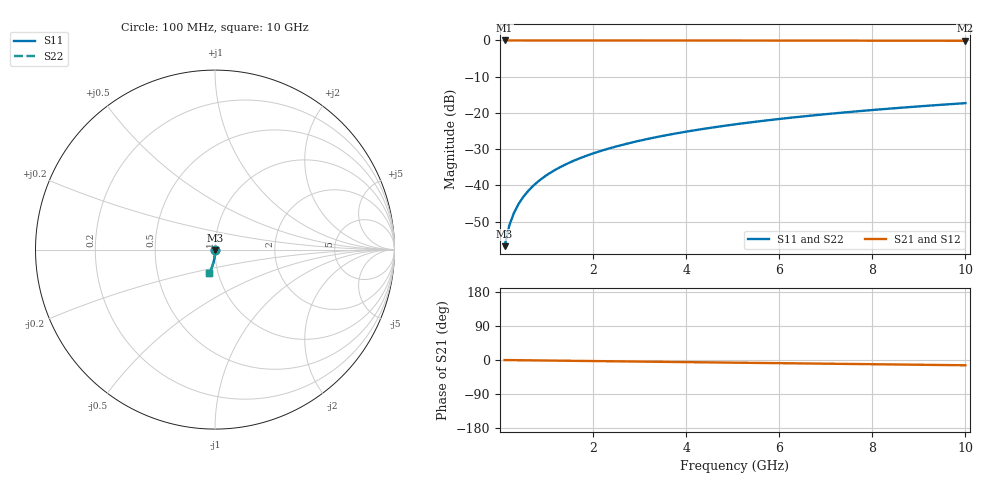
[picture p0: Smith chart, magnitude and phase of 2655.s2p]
# Hz S RI R 50.00
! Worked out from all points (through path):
!   100 points, 100 MHz to 10 GHz, reference 50 ohm
!   highest |S21| = 0.00 dB at 100 MHz (marker M1); lowest = -0.1 dB at 10 GHz (marker M2)
!   group delay of S21, straight-line fit = 3.86 ps
!   lowest |S11| = -56.8 dB at 100 MHz (marker M3), VSWR 1.00, Z = 50 - j0.138 ohm
!   |S11| at or under -10 dB: start of sweep to end of sweep
!   |S22| runs from -56.8 to -17.3 dB; largest |S21 - S12| = 0
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1e8  0.000443 -0.00138  0.9995 -0.00243  0.9995 -0.00243  0.000443 -0.00138
2e8  0.000434 -0.00276  0.9995 -0.00486  0.9995 -0.00486  0.000434 -0.00276
3e8  0.000418 -0.00414  0.9995 -0.00729  0.9995 -0.00729  0.000418 -0.00414
4e8  0.000395 -0.00552  0.9995 -0.00972  0.9995 -0.00972  0.000395 -0.00552
5e8  0.000364 -0.0069  0.9994 -0.0121  0.9994 -0.0121  0.000364 -0.0069
6e8  0.000327 -0.00828  0.9994 -0.0146  0.9994 -0.0146  0.000327 -0.00828
7e8  0.000283 -0.00966  0.9993 -0.017  0.9993 -0.017  0.000283 -0.00966
8e8  0.000232 -0.011  0.9993 -0.0194  0.9993 -0.0194  0.000232 -0.011
9e8  0.000174 -0.0124  0.9992 -0.0219  0.9992 -0.0219  0.000174 -0.0124
1.1e9  3.83e-05 -0.0152  0.999 -0.0267  0.999 -0.0267  3.83e-05 -0.0152
1.4e9  -0.000216 -0.0193  0.9987 -0.034  0.9987 -0.034  -0.000216 -0.0193
1.8e9  -0.000649 -0.0248  0.9982 -0.0437  0.9982 -0.0437  -0.000649 -0.0248
2.1e9  -0.00104 -0.0289  0.9978 -0.051  0.9978 -0.051  -0.00104 -0.0289
2.5e9  -0.00166 -0.0344  0.997 -0.0607  0.997 -0.0607  -0.00166 -0.0344
2.9e9  -0.00239 -0.0399  0.9962 -0.0704  0.9962 -0.0704  -0.00239 -0.0399
3.4e9  -0.00345 -0.0467  0.9949 -0.0824  0.9949 -0.0824  -0.00345 -0.0467
4.2e9  -0.00549 -0.0576  0.9926 -0.1017  0.9926 -0.1017  -0.00549 -0.0576
5.1e9  -0.00828 -0.0697  0.9893 -0.1233  0.9893 -0.1233  -0.00828 -0.0697
5.9e9  -0.0112 -0.0803  0.9859 -0.1423  0.9859 -0.1423  -0.0112 -0.0803
6.7e9  -0.0145 -0.0908  0.982 -0.1613  0.982 -0.1613  -0.0145 -0.0908
8.4e9  -0.0229 -0.1127  0.9721 -0.2011  0.9721 -0.2011  -0.0229 -0.1127
1e10  -0.0324 -0.1325  0.961 -0.2378  0.961 -0.2378  -0.0324 -0.1325
